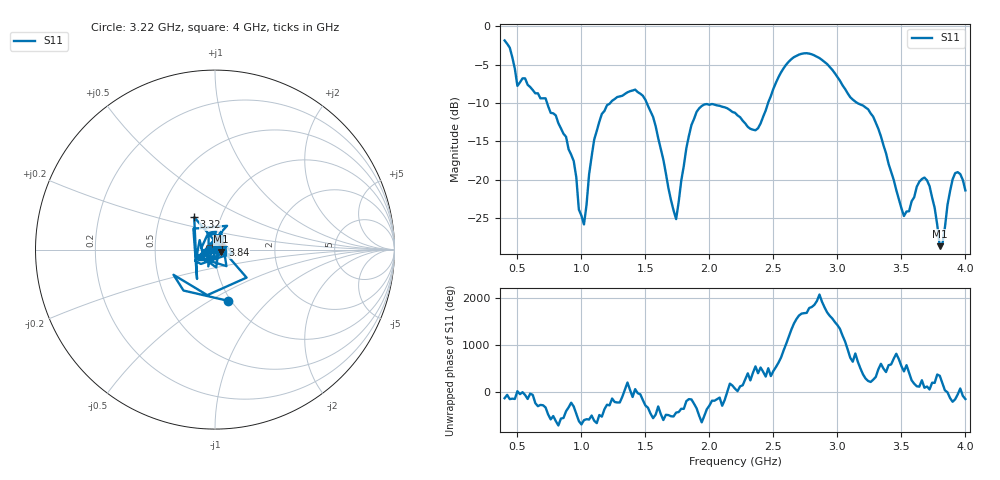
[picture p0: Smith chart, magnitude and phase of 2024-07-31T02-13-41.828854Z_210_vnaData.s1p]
!Created with skrf (http://scikit-rf.org).
# Hz S RI R 50.0
!freq ReS11 ImS11
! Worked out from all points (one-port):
!   181 points, 400 MHz to 4 GHz, reference 50 ohm
!   lowest |S11| = -28.7 dB at 3.8 GHz (marker M1), VSWR 1.08, Z = 53.6 - j1.19 ohm
!   |S11| at or under -10 dB: 732 MHz to 1.225 GHz (493.3 MHz wide, 50.4 % of centre); 1.511 GHz to 2.458 GHz (947.9 MHz wide, 47.8 % of centre); 3.156 GHz to end of sweep
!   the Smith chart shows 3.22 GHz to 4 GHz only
!   S11 on the Smith chart (normalised r, x): 3.22 GHz: 0.97, -0.61; 3.32 GHz: 0.75, +0.28; 3.84 GHz: 1.08, +0.06; 4 GHz: 0.86, -0.07
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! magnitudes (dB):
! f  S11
! 400 MHz  -1.8
! 500 MHz  -7.8
! 720 MHz  -9.4
! 860 MHz  -14.0
! 940 MHz  -17.6
! 980 MHz  -23.9
! 1.02 GHz  -25.8
! 1.1 GHz  -14.8
! 1.3 GHz  -9.1
! 1.5 GHz  -9.6
! 1.74 GHz  -25.1
! 1.76 GHz  -22.9
! 1.82 GHz  -15.9
! 1.9 GHz  -11.2
! 2.2 GHz  -11.3
! 2.38 GHz  -13.3
! 2.66 GHz  -4.0
! 2.86 GHz  -4.1
! 3.1 GHz  -9.2
! 3.22 GHz  -10.6
! 3.32 GHz  -13.4
! 3.52 GHz  -24.7
! 3.56 GHz  -24.1
! 3.7 GHz  -20.1
! 3.8 GHz  -28.7
! 3.84 GHz  -26.2
! 3.92 GHz  -19.1
! 4 GHz  -21.4
